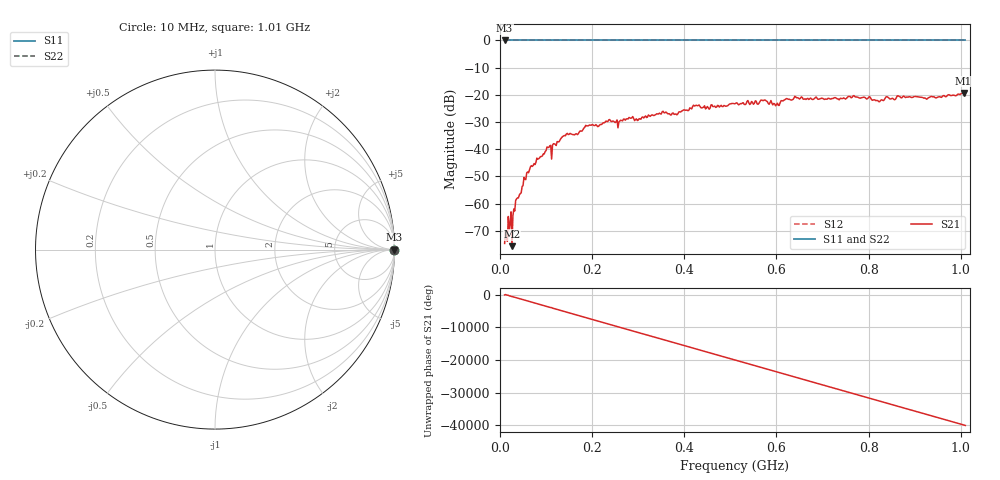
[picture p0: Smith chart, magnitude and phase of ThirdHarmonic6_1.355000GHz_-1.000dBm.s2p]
! 8/16/2025 3:16:37 PM
! C:\ANRITSUVNA\TEMP\TEMP.S2P
! CHANNEL.1
! TR.MEASUREMENT
! RAW.DATA
! RF.CORRECTION.OFF
! AVERAGING.OFF
! IF.BANDWIDTH: 5KHZ
! SWEEPTYPE:  FREQ.SWEEP(Linear)
! Reference Plane Port Info
! PORT:  PORT1  PORT2
! DISTANCE:  0  m  0  m
! TIME:  0  s  0  s
! PHASE.OFFSET:  0  deg.  0  deg.
! LOSS:  0  dB  0  dB
! REF.LOSS:  0  dB  0  dB
! REF.FREQ:  0  Hz  0  Hz
! Power Info
! POWER:  -20  dBm  -20  dBm
! EFF.POWER:  -20  dBm  -20  dBm
! SOURCE.ATTEN:  0  dB  0  dB
! TEST.ATTEN:  0  dB  0  dB
# GHZ S RI R 50.0
! FREQ.GHZ  S11RE  S11IM  S21RE  S21IM  S12RE  S12IM  S22RE  S22IM
!; PortSelection: Port_12
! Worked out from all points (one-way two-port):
!   501 points, 10 MHz to 1.01 GHz, reference 50 ohm
!   highest |S21| = -19.37 dB at 1.006 GHz (marker M1); lowest = -75.7 dB at 26 MHz (marker M2)
!   lowest |S11| = 0.0 dB at 10 MHz (marker M3)
!   |S11| at or under -10 dB: nowhere
!   |S22| runs from 0.0 to 0.0 dB; largest |S21 - S12| = 1.1
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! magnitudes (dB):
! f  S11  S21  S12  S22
! 10 MHz  0.0  -74.7  0.0  0.0
! 20 MHz  0.0  -69.5  0.0  0.0
! 26 MHz  0.0  -75.7  0.0  0.0
! 38 MHz  0.0  -57.9  0.0  0.0
! 56 MHz  0.0  -51.2  0.0  0.0
! 70 MHz  0.0  -46.3  0.0  0.0
! 106 MHz  0.0  -39.4  0.0  0.0
! 116 MHz  0.0  -38.0  0.0  0.0
! 142 MHz  0.0  -35.1  0.0  0.0
! 178 MHz  0.0  -33.3  0.0  0.0
! 234 MHz  0.0  -29.8  0.0  0.0
! 254 MHz  0.0  -29.2  0.0  0.0
! 344 MHz  0.0  -27.0  0.0  0.0
! 424 MHz  0.0  -24.0  0.0  0.0
! 510 MHz  0.0  -23.3  0.0  0.0
! 572 MHz  0.0  -22.1  0.0  0.0
! 602 MHz  0.0  -23.1  0.0  0.0
! 642 MHz  0.0  -20.8  0.0  0.0
! 678 MHz  0.0  -21.7  0.0  0.0
! 844 MHz  0.0  -21.2  0.0  0.0
! 1.006 GHz  0.0  -19.4  0.0  0.0
! 1.01 GHz  0.0  -20.2  0.0  0.0
